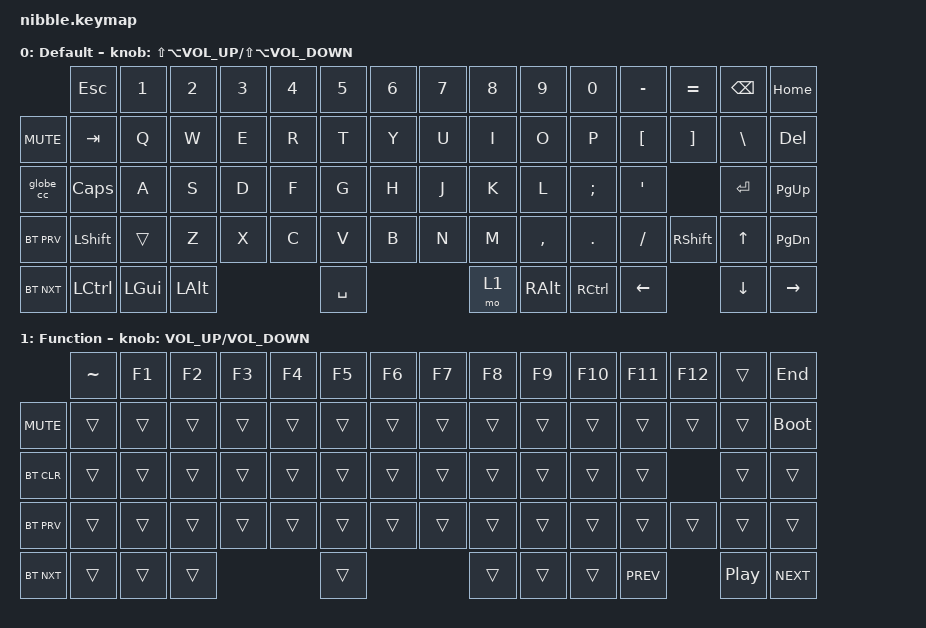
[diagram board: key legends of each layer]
/*
 * Copyright (c) 2020 The ZMK Contributors
 *
 * SPDX-License-Identifier: MIT
 */

#include <behaviors.dtsi>
#include <dt-bindings/zmk/keys.h>
#include <dt-bindings/zmk/bt.h>

/ {
    macros {
        /* Hold Globe(fn) + tap C = open macOS Control Center */
        globe_cc: globe_cc {
            compatible = "zmk,behavior-macro";
            #binding-cells = <0>;
            wait-ms = <10>;
            tap-ms = <10>;
            bindings
                = <&macro_press &kp GLOBE>
                , <&macro_tap &kp C>
                , <&macro_release &kp GLOBE>
                ;
        };
    };

    sensors: sensors {
        compatible = "zmk,keymap-sensors";
        sensors = <&encoder_1>;
        triggers-per-rotation = <20>;
    };

    keymap {
        compatible = "zmk,keymap";

        default_layer {
            display-name = "Default";

            /*
             * Encoder = fine volume on macOS. Holding Shift+Alt with the
             * volume keys makes macOS step by 1/4 increments.
             * Left -> louder, Right -> quieter.
             */
            sensor-bindings = <&inc_dec_kp LS(LA(C_VOLUME_UP)) LS(LA(C_VOLUME_DOWN))>;

            /*
             * Far-left column below the encoder:
             *   top    = macOS Control Center (Globe + C)
             *   middle = previous Bluetooth device
             *   bottom = next Bluetooth device
             */
            bindings = <
            &kp ESC     &kp N1    &kp N2    &kp N3    &kp N4    &kp N5    &kp N6    &kp N7    &kp N8  &kp N9    &kp N0    &kp MINUS &kp EQUAL &kp BSPC  &kp HOME
&kp C_MUTE   &kp TAB   &kp Q     &kp W     &kp E     &kp R     &kp T     &kp Y     &kp U     &kp I   &kp O     &kp P     &kp LBKT  &kp RBKT  &kp BSLH  &kp DEL
&globe_cc    &kp CLCK  &kp A     &kp S     &kp D     &kp F     &kp G     &kp H     &kp J     &kp K   &kp L     &kp SEMI  &kp SQT             &kp RET   &kp PG_UP
&bt BT_PRV   &kp LSHFT &trans    &kp Z     &kp X     &kp C     &kp V     &kp B     &kp N     &kp M   &kp COMMA &kp DOT   &kp FSLH  &kp RSHFT &kp UP    &kp PG_DN
&bt BT_NXT   &kp LCTRL &kp LGUI  &kp LALT                      &kp SPACE                     &mo 1   &kp RALT  &kp RCTRL &kp LEFT            &kp DOWN  &kp RIGHT
            >;
        };
        function_layer {
            display-name = "Function";

            /* Encoder on the Fn layer = system volume (same direction as base). */
            sensor-bindings = <&inc_dec_kp C_VOLUME_UP C_VOLUME_DOWN>;

            bindings = <
            &kp TILDE &kp F1    &kp F2    &kp F3    &kp F4    &kp F5    &kp F6    &kp F7    &kp F8  &kp F9    &kp F10   &kp F11   &kp F12   &trans   &kp END
&kp C_MUTE  &trans    &trans    &trans    &trans    &trans    &trans    &trans    &trans    &trans  &trans    &trans    &trans    &trans    &trans   &bootloader
&bt BT_CLR  &trans    &trans    &trans    &trans    &trans    &trans    &trans    &trans    &trans  &trans    &trans    &trans              &trans   &trans
&bt BT_PRV  &trans    &trans    &trans    &trans    &trans    &trans    &trans    &trans    &trans  &trans    &trans    &trans    &trans    &trans   &trans
&bt BT_NXT  &trans    &trans    &trans                        &trans                        &trans  &trans    &trans    &kp C_PREV          &kp C_PP &kp C_NEXT
            >;
        };
    };
};
